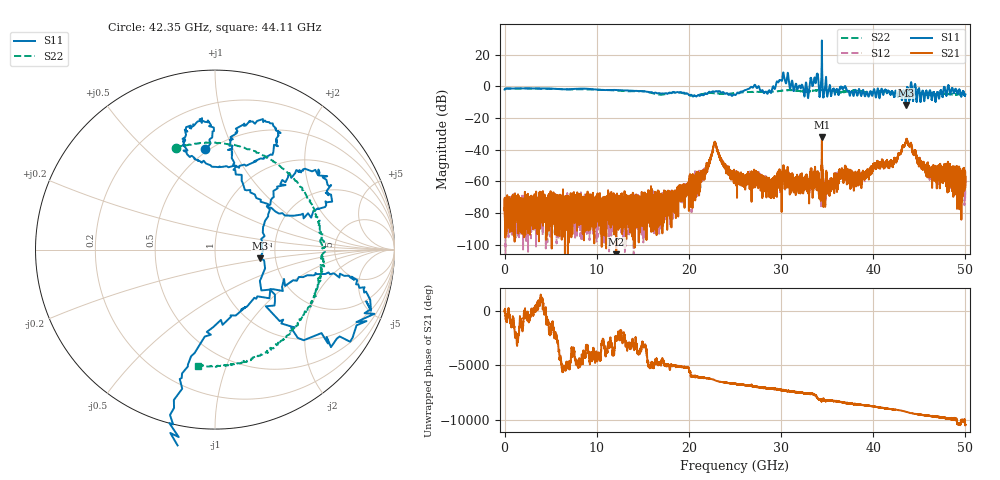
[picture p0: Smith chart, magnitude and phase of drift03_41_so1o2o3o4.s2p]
!Created with skrf (http://scikit-rf.org).
# Hz S RI R 50.0
!freq ReS11 ImS11 ReS21 ImS21 ReS12 ImS12 ReS22 ImS22
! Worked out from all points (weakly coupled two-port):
!   10000 points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, 5.3 MHz to 50 GHz, reference 50 ohm
!   highest |S21| = -31.95 dB at 34.43 GHz (marker M1); lowest = -113.8 dB at 12.12 GHz (marker M2)
!   lowest |S11| = -11.8 dB at 43.53 GHz (marker M3), VSWR 1.69, Z = 83.1 - j8.63 ohm
!   |S11| at or under -10 dB: 43.48678 GHz to 43.55661 GHz (69.83 MHz wide, 0.16 % of centre)
!   |S22| runs from -5.9 to -1.3 dB; largest |S21 - S12| = 0.018
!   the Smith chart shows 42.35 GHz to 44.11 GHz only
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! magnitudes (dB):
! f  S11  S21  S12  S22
! 5.3 MHz  -2.1  -71.0  -81.3  -2.1
! 8.34 GHz  -1.5  -72.7  -80.7  -1.9
! 12.12 GHz  -2.4  -113.8  -72.8  -2.7
! 16.67 GHz  -4.4  -75.1  -71.6  -5.2
! 21 GHz  -5.6  -65.0  -63.5  -5.6
! 21.94 GHz  -4.9  -53.0  -52.2  -4.3
! 22.81 GHz  -3.5  -35.3  -35.4  -4.5
! 25.01 GHz  -5.5  -56.7  -58.8  -4.3
! 27.01 GHz  -0.5  -64.2  -58.8  -3.6
! 28.89 GHz  -4.2  -64.4  -67.7  -3.5
! 30.14 GHz  4.4  -56.2  -57.0  -2.7
! 32.74 GHz  2.0  -57.0  -59.5  -3.4
! 33.34 GHz  2.6  -58.1  -57.3  -2.9
! 33.82 GHz  4.0  -58.3  -58.1  -2.5
! 34.43 GHz  29.0  -32.0  -36.4  -2.3
! 35.43 GHz  -6.1  -66.3  -62.7  -2.8
! 36.81 GHz  -1.0  -56.4  -60.0  -3.5
! 38.53 GHz  -2.7  -57.0  -59.6  -3.1
! 41.67 GHz  -3.0  -49.5  -50.1  -3.7
! 43.53 GHz  -11.8  -35.2  -35.2  -4.2
! 45.87 GHz  -4.9  -51.4  -51.6  -5.3
! 50 GHz  -5.2  -57.2  -61.4  -5.0
